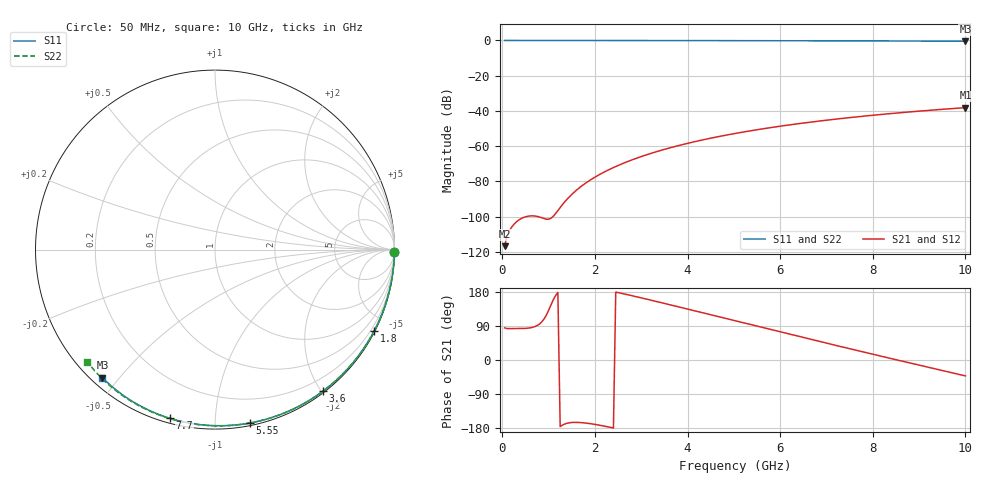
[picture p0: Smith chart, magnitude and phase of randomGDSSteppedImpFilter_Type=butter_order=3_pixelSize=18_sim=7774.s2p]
! freq	dB(S11)	phase(S11)	dB(S12)	phase(S12)
!  dB(S21)	phase(S21)	dB(S22)	phase(S22)
!S-par simulation data
#  GHz  S  DB  R 50
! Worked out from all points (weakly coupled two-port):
!   200 points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, 50 MHz to 10 GHz, reference 50 ohm
!   highest |S21| = -38.13 dB at 10 GHz (marker M1); lowest = -116.8 dB at 50 MHz (marker M2)
!   lowest |S11| = -0.4 dB at 10 GHz (marker M3), VSWR 39.12, Z = 1.54 - j22.6 ohm
!   |S11| at or under -10 dB: nowhere
!   |S22| runs from -0.5 to 0.0 dB; largest |S21 - S12| = 0
!   S11 on the Smith chart (normalised r, x): 50 MHz: open; 1.8 GHz: 0.04, -4.18; 3.6 GHz: 0.02, -2.02; 5.55 GHz: 0.02, -1.22; 7.7 GHz: 0.02, -0.77; 10 GHz: 0.03, -0.45
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0.05  -0.00 -0.8  -116.76 84.7  -116.76 84.7  -0.00 -0.8
0.45  -0.01 -6.8  -100.58 83.2  -100.58 83.2  -0.01 -7.2
0.9  -0.02 -13.6  -101.09 107.9  -101.09 107.9  -0.02 -14.4
1.75  -0.03 -26.2  -81.90 -165.7  -81.90 -165.7  -0.04 -27.7
1.8  -0.03 -26.9  -80.96 -166.4  -80.96 -166.4  -0.04 -28.4
1.85  -0.04 -27.7  -80.07 -167.2  -80.07 -167.2  -0.04 -29.2
2.15  -0.04 -32.0  -75.37 -173.2  -75.37 -173.2  -0.04 -33.8
2.35  -0.04 -34.9  -72.74 -178.1  -72.74 -178.1  -0.05 -36.9
2.55  -0.05 -37.8  -70.39 176.6  -70.39 176.6  -0.05 -39.9
2.95  -0.06 -43.5  -66.36 165.4  -66.36 165.4  -0.06 -45.9
3.4  -0.07 -49.9  -62.57 152.3  -62.57 152.3  -0.07 -52.6
3.6  -0.07 -52.6  -61.08 146.4  -61.08 146.4  -0.07 -55.5
3.9  -0.08 -56.8  -59.03 137.4  -59.03 137.4  -0.08 -59.9
4.3  -0.09 -62.2  -56.58 125.4  -56.58 125.4  -0.09 -65.6
5.05  -0.11 -72.2  -52.68 102.8  -52.68 102.8  -0.12 -76.0
5.55  -0.13 -78.6  -50.46 87.7  -50.46 87.7  -0.14 -82.8
6.1  -0.15 -85.6  -48.29 71.2  -48.29 71.2  -0.16 -90.1
6.7  -0.18 -93.0  -46.21 53.4  -46.21 53.4  -0.19 -97.9
7.7  -0.24 -105.0  -43.24 24.0  -43.24 24.0  -0.25 -110.6
8.35  -0.29 -112.6  -41.59 5.1  -41.59 5.1  -0.30 -118.6
9.2  -0.36 -122.3  -39.69 -19.2  -39.69 -19.2  -0.38 -128.9
10  -0.44 -131.3  -38.13 -42.0  -38.13 -42.0  -0.47 -138.6
